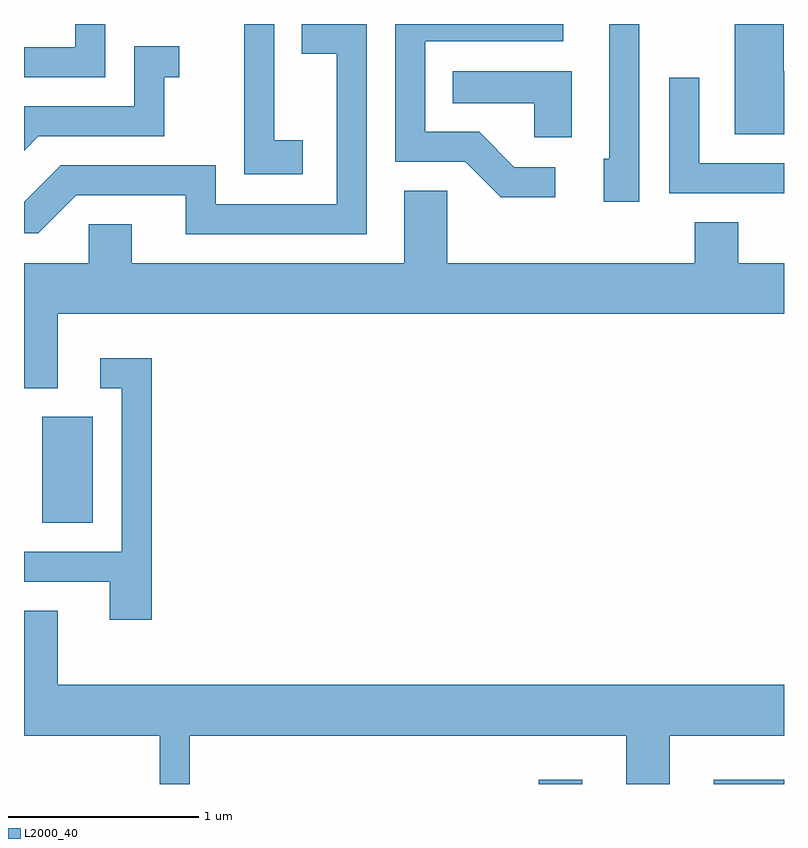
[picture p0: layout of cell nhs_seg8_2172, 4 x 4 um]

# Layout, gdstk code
import gdstk
lib = gdstk.Library(unit=1e-6, precision=1e-09)
def R(c, l, rs):  # rectangles x0, y0, x1, y1
    for r in rs: c.add(gdstk.rectangle(r[:2], r[2:], *l))
def P(c, l, *ps):  # polygons
    for p in ps: c.add(gdstk.Polygon(p, *l))
L2000_40 = (2000, 40)

nhs_seg8_2172 = lib.new_cell('nhs_seg8_2172')
R(nhs_seg8_2172, L2000_40, [(252.321,1878.342,252.549,1878.364), (253.241,1878.342,253.611,1878.364), (249.706,1879.716,249.974,1880.274)])
P(nhs_seg8_2172, L2000_40, [(252.849,1882.342),(252.691,1882.342),(252.691,1881.634),(252.661,1881.634),(252.661,1881.406),(252.849,1881.406)],
  [(251.079,1881.729),(250.929,1881.729),(250.929,1882.342),(250.771,1882.342),(250.771,1881.551),(251.079,1881.551)],
  [(250.039,1882.342),(249.881,1882.342),(249.881,1882.219),(249.611,1882.219),(249.611,1882.061),(250.039,1882.061)],
  [(253.611,1882.094),(253.609,1882.094),(253.609,1882.342),(253.351,1882.342),(253.351,1881.761),(253.611,1881.761)],
  [(251.414,1882.342),(251.073,1882.342),(251.073,1882.186),(251.256,1882.186),(251.256,1881.394),(250.619,1881.394),(250.619,1881.599),(249.804,1881.599),(249.611,1881.406),(249.611,1881.241),(249.687,1881.241),(249.887,1881.441),(250.461,1881.441),(250.461,1881.236),(251.414,1881.236)],
  [(252.408,1881.589),(252.192,1881.589),(252.007,1881.774),(251.724,1881.774),(251.724,1882.251),(252.448,1882.251),(252.448,1882.342),(251.566,1882.342),(251.566,1881.616),(251.934,1881.616),(252.119,1881.431),(252.408,1881.431)],
  [(249.687,1881.751),(250.349,1881.751),(250.349,1882.061),(250.428,1882.061),(250.428,1882.224),(250.191,1882.224),(250.191,1881.909),(249.614,1881.909),(249.611,1881.906),(249.611,1881.675)],
  [(252.494,1882.094),(251.868,1882.094),(251.868,1881.926),(252.296,1881.926),(252.296,1881.746),(252.494,1881.746)],
  [(253.611,1881.609),(253.164,1881.609),(253.164,1882.058),(253.006,1882.058),(253.006,1881.451),(253.611,1881.451)],
  [(249.789,1880.816),(253.611,1880.816),(253.611,1881.084),(253.369,1881.084),(253.369,1881.299),(253.141,1881.299),(253.141,1881.084),(251.839,1881.084),(251.839,1881.464),(251.611,1881.464),(251.611,1881.084),(250.179,1881.084),(250.179,1881.289),(249.951,1881.289),(249.951,1881.084),(249.611,1881.084),(249.611,1880.426),(249.789,1880.426)],
  [(250.284,1880.584),(250.013,1880.584),(250.013,1880.426),(250.126,1880.426),(250.126,1879.564),(249.611,1879.564),(249.611,1879.406),(250.061,1879.406),(250.061,1879.206),(250.284,1879.206)],
  [(250.484,1878.596),(252.781,1878.596),(252.781,1878.342),(253.009,1878.342),(253.009,1878.596),(253.611,1878.596),(253.611,1878.864),(249.789,1878.864),(249.789,1879.254),(249.611,1879.254),(249.611,1878.596),(250.326,1878.596),(250.326,1878.342),(250.484,1878.342)])

lib.write_gds('nhs_seg8_2172.gds')
